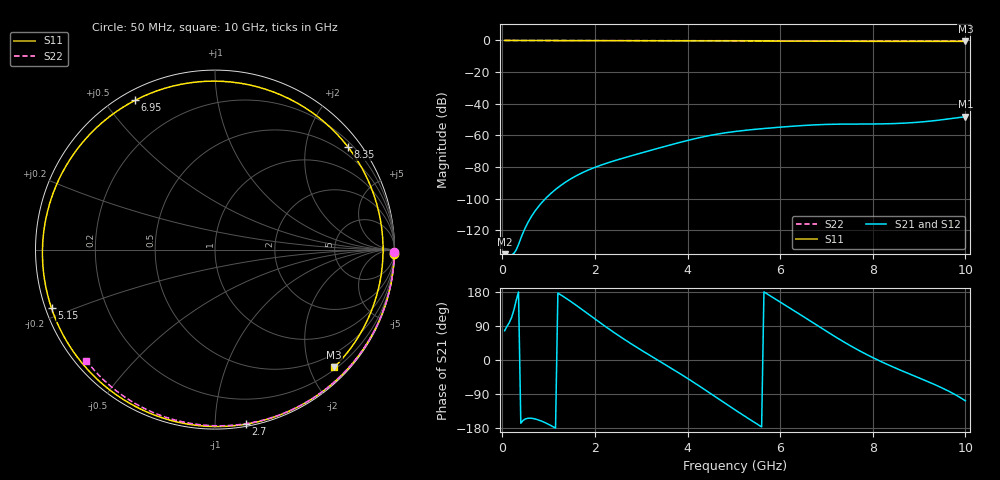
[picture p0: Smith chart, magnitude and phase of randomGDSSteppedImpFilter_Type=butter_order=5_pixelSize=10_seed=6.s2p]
! freq	dB(S11)	phase(S11)	dB(S12)	phase(S12)
!  dB(S21)	phase(S21)	dB(S22)	phase(S22)
!S-par simulation data
#  GHz  S  DB  R 50
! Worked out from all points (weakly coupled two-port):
!   200 points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, 50 MHz to 10 GHz, reference 50 ohm
!   highest |S21| = -48.17 dB at 10 GHz (marker M1); lowest = -146.0 dB at 50 MHz (marker M2)
!   lowest |S11| = -0.6 dB at 10 GHz (marker M3), VSWR 28.96, Z = 11.9 - j121 ohm
!   |S11| at or under -10 dB: nowhere
!   |S22| runs from -0.5 to 0.0 dB; largest |S21 - S12| = 0
!   S11 on the Smith chart (normalised r, x): 50 MHz: 0, -76; 2.7 GHz: 0.02, -1.19; 5.15 GHz: 0.02, -0.17; 6.95 GHz: 0.04, +0.60; 8.35 GHz: 0.32, +2.91; 10 GHz: 0.24, -2.41
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0.05  -0.00 -1.5  -146.04 77.2  -146.04 77.2  -0.00 -0.8
0.85  -0.03 -25.2  -102.54 -161.4  -102.54 -161.4  -0.02 -13.2
1.75  -0.07 -51.8  -83.28 130.8  -83.28 130.8  -0.03 -27.0
2  -0.08 -59.2  -80.19 108.4  -80.19 108.4  -0.04 -30.8
2.7  -0.11 -80.0  -73.59 49.2  -73.59 49.2  -0.05 -41.2
3.4  -0.14 -101.3  -67.85 -3.5  -67.85 -3.5  -0.07 -51.5
4.2  -0.20 -126.8  -61.79 -64.3  -61.79 -64.3  -0.09 -63.0
5.05  -0.28 -156.5  -57.43 -133.5  -57.43 -133.5  -0.12 -74.8
5.15  -0.29 -160.3  -57.09 -141.5  -57.09 -141.5  -0.12 -76.2
5.55  -0.33 -175.9  -55.91 -172.7  -55.91 -172.7  -0.13 -81.6
5.95  -0.38 167.1  -54.91 156.9  -54.91 156.9  -0.15 -87.0
6.35  -0.43 148.7  -54.02 126.3  -54.02 126.3  -0.17 -92.4
6.7  -0.48 131.3  -53.40 99.1  -53.40 99.1  -0.19 -97.0
6.95  -0.51 118.1  -53.10 79.6  -53.10 79.6  -0.20 -100.2
7.3  -0.54 98.7  -52.88 53.2  -52.88 53.2  -0.23 -104.8
7.65  -0.56 78.5  -52.83 28.6  -52.83 28.6  -0.25 -109.3
8  -0.57 57.9  -52.80 6.4  -52.80 6.4  -0.28 -113.8
8.35  -0.57 37.5  -52.62 -13.7  -52.62 -13.7  -0.31 -118.2
8.7  -0.57 17.8  -52.22 -32.1  -52.22 -32.1  -0.34 -122.7
9.1  -0.57 -3.3  -51.38 -52.4  -51.38 -52.4  -0.38 -127.7
9.5  -0.58 -22.8  -50.10 -73.9  -50.10 -73.9  -0.42 -132.8
10  -0.60 -44.7  -48.17 -107.6  -48.17 -107.6  -0.48 -139.2
